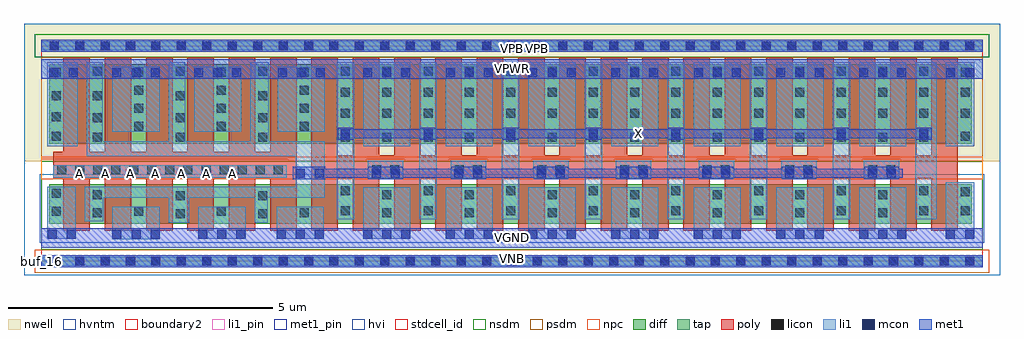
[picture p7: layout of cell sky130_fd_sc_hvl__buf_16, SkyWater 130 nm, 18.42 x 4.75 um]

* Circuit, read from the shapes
.subckt sky130_fd_sc_hvl__buf_16 A VGND VNB VPB VPWR X
XM1 n1 A VGND VNB sky130_fd_pr__nfet_g5v0d10v5 w=0.75 l=0.5 m=6
XM2 X n1 VGND VNB sky130_fd_pr__nfet_g5v0d10v5 w=0.75 l=0.5 m=16
XM3 n1 A VPWR VPB sky130_fd_pr__pfet_g5v0d10v5 w=1.5 l=0.5 m=6
XM4 X n1 VPWR VPB sky130_fd_pr__pfet_g5v0d10v5 w=1.5 l=0.5 m=16
.ends

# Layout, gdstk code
import gdstk
lib = gdstk.Library(unit=1e-6, precision=1e-09)
def R(c, l, rs):  # rectangles x0, y0, x1, y1
    for r in rs: c.add(gdstk.rectangle(r[:2], r[2:], *l))
def A(c, l, x, y, w, h, nx, ny, dx, dy):  # array of equal rectangles
    R(c, l, [(x+i*dx, y+j*dy, x+i*dx+w, y+j*dy+h) for i in range(nx) for j in range(ny)])
def P(c, l, *ps):  # polygons
    for p in ps: c.add(gdstk.Polygon(p, *l))
nwell = (64, 20)
diff = (65, 20)
tap = (65, 44)
poly = (66, 20)
licon = (66, 44)
li1_pin = (67, 16)
li1 = (67, 20)
mcon = (67, 44)
met1_pin = (68, 16)
met1 = (68, 20)
hvi = (75, 20)
stdcell_id = (81, 4)
nsdm = (93, 44)
psdm = (94, 20)
npc = (95, 20)
hvntm = (125, 20)
boundary2 = (236, 0)

sky130_fd_sc_hvl__buf_16 = lib.new_cell('sky130_fd_sc_hvl__buf_16')
R(sky130_fd_sc_hvl__buf_16, nwell, [(-0.33,1.885,18.09,4.485)])
R(sky130_fd_sc_hvl__buf_16, diff, [(0.15,0.705,17.56,1.455), (0.15,2.215,17.56,3.715)])
R(sky130_fd_sc_hvl__buf_16, tap, [(0,-0.085,17.76,0.085), (0,3.985,17.76,4.155)])
P(sky130_fd_sc_hvl__buf_16, poly, [(0.415,0.575),(0.415,1.565),(0.22,1.565),(0.22,2.065),(0.415,2.065),(0.415,3.845),(0.915,3.845),(0.915,2.065),(1.195,2.065),(1.195,3.845),(1.695,3.845),(1.695,2.065),(1.975,2.065),(1.975,3.845),(2.475,3.845),(2.475,2.065),(2.755,2.065),(2.755,3.845),(3.255,3.845),(3.255,2.065),(3.535,2.065),(3.535,3.845),(4.035,3.845),(4.035,2.065),(4.315,2.065),(4.315,3.845),(4.815,3.845),(4.815,0.575),(4.315,0.575),(4.315,1.565),(4.035,1.565),(4.035,0.575),(3.535,0.575),(3.535,1.565),(3.255,1.565),(3.255,0.575),(2.755,0.575),(2.755,1.565),(2.475,1.565),(2.475,0.575),(1.975,0.575),(1.975,1.565),(1.695,1.565),(1.695,0.575),(1.195,0.575),(1.195,1.565),(0.915,1.565),(0.915,0.575)],
  [(5.095,0.575),(5.095,3.845),(5.595,3.845),(5.595,2.005),(5.875,2.005),(5.875,3.845),(6.375,3.845),(6.375,2.005),(6.655,2.005),(6.655,3.845),(7.155,3.845),(7.155,2.005),(7.435,2.005),(7.435,3.845),(7.935,3.845),(7.935,2.005),(8.215,2.005),(8.215,3.845),(8.715,3.845),(8.715,2.005),(8.995,2.005),(8.995,3.845),(9.495,3.845),(9.495,2.005),(9.775,2.005),(9.775,3.845),(10.275,3.845),(10.275,2.005),(10.555,2.005),(10.555,3.845),(11.055,3.845),(11.055,2.005),(11.335,2.005),(11.335,3.845),(11.835,3.845),(11.835,2.005),(12.115,2.005),(12.115,3.845),(12.615,3.845),(12.615,2.005),(12.895,2.005),(12.895,3.845),(13.395,3.845),(13.395,2.005),(13.675,2.005),(13.675,3.845),(14.175,3.845),(14.175,2.005),(14.455,2.005),(14.455,3.845),(14.955,3.845),(14.955,2.005),(15.235,2.005),(15.235,3.845),(15.735,3.845),(15.735,2.005),(16.015,2.005),(16.015,3.845),(16.515,3.845),(16.515,2.005),(16.795,2.005),(16.795,3.845),(17.295,3.845),(17.295,0.575),(16.795,0.575),(16.795,1.565),(16.515,1.565),(16.515,0.575),(16.015,0.575),(16.015,1.565),(15.735,1.565),(15.735,0.575),(15.235,0.575),(15.235,1.565),(14.955,1.565),(14.955,0.575),(14.455,0.575),(14.455,1.565),(14.175,1.565),(14.175,0.575),(13.675,0.575),(13.675,1.565),(13.395,1.565),(13.395,0.575),(12.895,0.575),(12.895,1.565),(12.615,1.565),(12.615,0.575),(12.115,0.575),(12.115,1.565),(11.835,1.565),(11.835,0.575),(11.335,0.575),(11.335,1.565),(11.055,1.565),(11.055,0.575),(10.555,0.575),(10.555,1.565),(10.275,1.565),(10.275,0.575),(9.775,0.575),(9.775,1.565),(9.495,1.565),(9.495,0.575),(8.995,0.575),(8.995,1.565),(8.715,1.565),(8.715,0.575),(8.215,0.575),(8.215,1.565),(7.935,1.565),(7.935,0.575),(7.435,0.575),(7.435,1.565),(7.155,1.565),(7.155,0.575),(6.655,0.575),(6.655,1.565),(6.375,1.565),(6.375,0.575),(5.875,0.575),(5.875,1.565),(5.595,1.565),(5.595,0.575)])
A(sky130_fd_sc_hvl__buf_16, licon, 0.155, -0.085, 0.17, 0.17, 37, 2, 0.48, 4.07)
A(sky130_fd_sc_hvl__buf_16, licon, 4.87, 0.835, 0.17, 0.17, 8, 1, 1.56, 0)
A(sky130_fd_sc_hvl__buf_16, licon, 0.19, 0.855, 0.17, 0.17, 3, 1, 1.56, 0)
A(sky130_fd_sc_hvl__buf_16, licon, 5.65, 0.87, 0.17, 0.17, 8, 2, 1.56, 0.375)
A(sky130_fd_sc_hvl__buf_16, licon, 6.43, 1.175, 0.17, 0.17, 7, 1, 1.56, 0)
A(sky130_fd_sc_hvl__buf_16, licon, 0.3, 1.645, 0.17, 0.17, 13, 1, 0.34, 0)
A(sky130_fd_sc_hvl__buf_16, licon, 0.97, 2.255, 0.17, 0.17, 4, 2, 1.56, 1.25)
A(sky130_fd_sc_hvl__buf_16, licon, 6.43, 2.255, 0.17, 0.17, 14, 2, 0.78, 1.25)
A(sky130_fd_sc_hvl__buf_16, licon, 1.75, 2.465, 0.17, 0.17, 3, 3, 1.56, 0.34)
A(sky130_fd_sc_hvl__buf_16, licon, 0.97, 2.62, 0.17, 0.17, 3, 2, 1.56, 0.42)
A(sky130_fd_sc_hvl__buf_16, licon, 5.65, 2.71, 0.17, 0.17, 16, 2, 0.78, 0.4)
A(sky130_fd_sc_hvl__buf_16, licon, 0.19, 3.485, 0.17, 0.17, 4, 1, 1.56, 0)
R(sky130_fd_sc_hvl__buf_16, licon, [(2.53,0.81,2.7,0.98), (4.09,0.81,4.26,0.98), (0.97,0.835,1.14,1.005), (17.35,0.87,17.52,1.04), (2.53,1.15,2.7,1.32), (4.09,1.15,4.26,1.32), (0.97,1.175,1.14,1.345), (0.19,1.195,0.36,1.365), (17.35,1.225,17.52,1.395), (6.24,1.645,6.41,1.815), (6.58,1.645,6.75,1.815), (7.8,1.645,7.97,1.815), (8.14,1.645,8.31,1.815), (9.36,1.645,9.53,1.815), (9.7,1.645,9.87,1.815), (10.92,1.645,11.09,1.815), (11.26,1.645,11.43,1.815), (12.48,1.645,12.65,1.815), (12.82,1.645,12.99,1.815), (14.04,1.645,14.21,1.815), (14.38,1.645,14.55,1.815), (15.6,1.645,15.77,1.815), (15.94,1.645,16.11,1.815), (0.19,2.275,0.36,2.445), (17.35,2.275,17.52,2.445), (0.19,2.64,0.36,2.81), (0.19,3.04,0.36,3.21), (17.35,3.485,17.52,3.655)])
A(sky130_fd_sc_hvl__buf_16, li1_pin, 0.635, 1.58, 0.17, 0.17, 7, 1, 0.48, 0)
A(sky130_fd_sc_hvl__buf_16, li1, 6.07, 0.425, 0.89, 0.97, 7, 1, 1.56, 0)
A(sky130_fd_sc_hvl__buf_16, li1, 5.57, 0.79, 0.33, 2.965, 7, 1, 1.56, 0)
A(sky130_fd_sc_hvl__buf_16, li1, 6.16, 1.565, 0.67, 0.33, 7, 1, 1.56, 0)
A(sky130_fd_sc_hvl__buf_16, li1, 6.07, 2.175, 0.89, 1.58, 7, 1, 1.56, 0)
R(sky130_fd_sc_hvl__buf_16, li1, [(0,-0.085,17.76,0.085), (1.34,0.415,2.23,1.025), (0.11,0.425,0.645,1.41), (2.96,0.425,3.855,1.025), (4.44,0.425,5.33,1.025), (17.07,0.425,17.6,1.495), (16.49,0.79,16.9,3.755), (0.22,1.58,4.63,1.815), (0.11,2.175,0.68,3.755), (17.07,2.175,17.6,3.755), (1.34,2.445,2.23,3.675), (2.88,2.445,3.77,3.675), (4.46,2.445,5.35,3.675), (0,3.985,17.76,4.155)])
P(sky130_fd_sc_hvl__buf_16, li1, [(2.4,0.73),(2.4,1.195),(1.17,1.195),(1.17,0.755),(0.815,0.755),(0.815,1.41),(4.8,1.41),(4.8,1.985),(0.85,1.985),(0.85,3.755),(1.16,3.755),(1.16,2.265),(2.4,2.265),(2.4,3.755),(2.71,3.755),(2.71,2.265),(3.94,2.265),(3.94,3.755),(4.29,3.755),(4.29,2.265),(5.35,2.265),(5.35,1.195),(4.27,1.195),(4.27,0.73),(4.025,0.73),(4.025,1.195),(2.79,1.195),(2.79,0.73)])
A(sky130_fd_sc_hvl__buf_16, mcon, 1.34, 0.425, 0.17, 0.17, 3, 2, 0.36, 3.05)
A(sky130_fd_sc_hvl__buf_16, mcon, 2.96, 0.425, 0.17, 0.17, 3, 1, 0.36, 0)
A(sky130_fd_sc_hvl__buf_16, mcon, 4.44, 0.425, 0.17, 0.17, 3, 1, 0.36, 0)
A(sky130_fd_sc_hvl__buf_16, mcon, 6.07, 0.425, 0.17, 0.17, 3, 2, 0.36, 3.05)
A(sky130_fd_sc_hvl__buf_16, mcon, 7.63, 0.425, 0.17, 0.17, 3, 2, 0.36, 3.05)
A(sky130_fd_sc_hvl__buf_16, mcon, 9.19, 0.425, 0.17, 0.17, 3, 2, 0.36, 3.05)
A(sky130_fd_sc_hvl__buf_16, mcon, 10.75, 0.425, 0.17, 0.17, 3, 2, 0.36, 3.05)
A(sky130_fd_sc_hvl__buf_16, mcon, 12.31, 0.425, 0.17, 0.17, 3, 2, 0.36, 3.05)
A(sky130_fd_sc_hvl__buf_16, mcon, 13.87, 0.425, 0.17, 0.17, 3, 2, 0.36, 3.05)
A(sky130_fd_sc_hvl__buf_16, mcon, 15.43, 0.425, 0.17, 0.17, 3, 2, 0.36, 3.05)
A(sky130_fd_sc_hvl__buf_16, mcon, 5.65, 2.32, 0.17, 0.17, 8, 1, 1.56, 0)
A(sky130_fd_sc_hvl__buf_16, mcon, 2.88, 3.475, 0.17, 0.17, 3, 1, 0.36, 0)
A(sky130_fd_sc_hvl__buf_16, mcon, 4.46, 3.475, 0.17, 0.17, 3, 1, 0.36, 0)
R(sky130_fd_sc_hvl__buf_16, mcon, [(0.155,-0.085,0.325,0.085), (0.155,-0.085,0.325,0.085), (0.635,-0.085,0.805,0.085), (0.635,-0.085,0.805,0.085), (1.115,-0.085,1.285,0.085), (1.115,-0.085,1.285,0.085), (1.595,-0.085,1.765,0.085), (1.595,-0.085,1.765,0.085), (2.075,-0.085,2.245,0.085), (2.075,-0.085,2.245,0.085), (2.555,-0.085,2.725,0.085), (2.555,-0.085,2.725,0.085), (3.035,-0.085,3.205,0.085), (3.035,-0.085,3.205,0.085), (3.515,-0.085,3.685,0.085), (3.515,-0.085,3.685,0.085), (3.995,-0.085,4.165,0.085), (3.995,-0.085,4.165,0.085), (4.475,-0.085,4.645,0.085), (4.475,-0.085,4.645,0.085), (4.955,-0.085,5.125,0.085), (4.955,-0.085,5.125,0.085), (5.435,-0.085,5.605,0.085), (5.435,-0.085,5.605,0.085), (5.915,-0.085,6.085,0.085), (5.915,-0.085,6.085,0.085), (6.395,-0.085,6.565,0.085), (6.395,-0.085,6.565,0.085), (6.875,-0.085,7.045,0.085), (6.875,-0.085,7.045,0.085), (7.355,-0.085,7.525,0.085), (7.355,-0.085,7.525,0.085), (7.835,-0.085,8.005,0.085), (7.835,-0.085,8.005,0.085), (8.315,-0.085,8.485,0.085), (8.315,-0.085,8.485,0.085), (8.795,-0.085,8.965,0.085), (8.795,-0.085,8.965,0.085), (9.275,-0.085,9.445,0.085), (9.275,-0.085,9.445,0.085), (9.755,-0.085,9.925,0.085), (9.755,-0.085,9.925,0.085), (10.235,-0.085,10.405,0.085), (10.235,-0.085,10.405,0.085), (10.715,-0.085,10.885,0.085), (10.715,-0.085,10.885,0.085), (11.195,-0.085,11.365,0.085), (11.195,-0.085,11.365,0.085), (11.675,-0.085,11.845,0.085), (11.675,-0.085,11.845,0.085), (12.155,-0.085,12.325,0.085), (12.155,-0.085,12.325,0.085), (12.635,-0.085,12.805,0.085), (12.635,-0.085,12.805,0.085), (13.115,-0.085,13.285,0.085), (13.115,-0.085,13.285,0.085), (13.595,-0.085,13.765,0.085), (13.595,-0.085,13.765,0.085), (14.075,-0.085,14.245,0.085), (14.075,-0.085,14.245,0.085), (14.555,-0.085,14.725,0.085), (14.555,-0.085,14.725,0.085), (15.035,-0.085,15.205,0.085), (15.035,-0.085,15.205,0.085), (15.515,-0.085,15.685,0.085), (15.515,-0.085,15.685,0.085), (15.995,-0.085,16.165,0.085), (15.995,-0.085,16.165,0.085), (16.475,-0.085,16.645,0.085), (16.475,-0.085,16.645,0.085), (16.955,-0.085,17.125,0.085), (16.955,-0.085,17.125,0.085), (17.435,-0.085,17.605,0.085), (17.435,-0.085,17.605,0.085), (0.115,0.425,0.285,0.595), (0.475,0.425,0.645,0.595), (17.07,0.425,17.24,0.595), (17.43,0.425,17.6,0.595), (4.8,1.58,4.97,1.75), (5.16,1.58,5.33,1.75), (6.23,1.58,6.4,1.75), (6.59,1.58,6.76,1.75), (7.79,1.58,7.96,1.75), (8.15,1.58,8.32,1.75), (9.35,1.58,9.52,1.75), (9.71,1.58,9.88,1.75), (10.91,1.58,11.08,1.75), (11.27,1.58,11.44,1.75), (12.47,1.58,12.64,1.75), (12.83,1.58,13,1.75), (14.03,1.58,14.2,1.75), (14.39,1.58,14.56,1.75), (15.59,1.58,15.76,1.75), (15.95,1.58,16.12,1.75), (0.15,3.475,0.32,3.645), (0.51,3.475,0.68,3.645), (17.07,3.475,17.24,3.645), (17.43,3.475,17.6,3.645), (0.155,3.985,0.325,4.155), (0.155,3.985,0.325,4.155), (0.635,3.985,0.805,4.155), (0.635,3.985,0.805,4.155), (1.115,3.985,1.285,4.155), (1.115,3.985,1.285,4.155), (1.595,3.985,1.765,4.155), (1.595,3.985,1.765,4.155), (2.075,3.985,2.245,4.155), (2.075,3.985,2.245,4.155), (2.555,3.985,2.725,4.155), (2.555,3.985,2.725,4.155), (3.035,3.985,3.205,4.155), (3.035,3.985,3.205,4.155), (3.515,3.985,3.685,4.155), (3.515,3.985,3.685,4.155), (3.995,3.985,4.165,4.155), (3.995,3.985,4.165,4.155), (4.475,3.985,4.645,4.155), (4.475,3.985,4.645,4.155), (4.955,3.985,5.125,4.155), (4.955,3.985,5.125,4.155), (5.435,3.985,5.605,4.155), (5.435,3.985,5.605,4.155), (5.915,3.985,6.085,4.155), (5.915,3.985,6.085,4.155), (6.395,3.985,6.565,4.155), (6.395,3.985,6.565,4.155), (6.875,3.985,7.045,4.155), (6.875,3.985,7.045,4.155), (7.355,3.985,7.525,4.155), (7.355,3.985,7.525,4.155), (7.835,3.985,8.005,4.155), (7.835,3.985,8.005,4.155), (8.315,3.985,8.485,4.155), (8.315,3.985,8.485,4.155), (8.795,3.985,8.965,4.155), (8.795,3.985,8.965,4.155), (9.275,3.985,9.445,4.155), (9.275,3.985,9.445,4.155), (9.755,3.985,9.925,4.155), (9.755,3.985,9.925,4.155), (10.235,3.985,10.405,4.155), (10.235,3.985,10.405,4.155), (10.715,3.985,10.885,4.155), (10.715,3.985,10.885,4.155), (11.195,3.985,11.365,4.155), (11.195,3.985,11.365,4.155), (11.675,3.985,11.845,4.155), (11.675,3.985,11.845,4.155), (12.155,3.985,12.325,4.155), (12.155,3.985,12.325,4.155), (12.635,3.985,12.805,4.155), (12.635,3.985,12.805,4.155), (13.115,3.985,13.285,4.155), (13.115,3.985,13.285,4.155), (13.595,3.985,13.765,4.155), (13.595,3.985,13.765,4.155), (14.075,3.985,14.245,4.155), (14.075,3.985,14.245,4.155), (14.555,3.985,14.725,4.155), (14.555,3.985,14.725,4.155), (15.035,3.985,15.205,4.155), (15.035,3.985,15.205,4.155), (15.515,3.985,15.685,4.155), (15.515,3.985,15.685,4.155), (15.995,3.985,16.165,4.155), (15.995,3.985,16.165,4.155), (16.475,3.985,16.645,4.155), (16.475,3.985,16.645,4.155), (16.955,3.985,17.125,4.155), (16.955,3.985,17.125,4.155), (17.435,3.985,17.605,4.155), (17.435,3.985,17.605,4.155)])
R(sky130_fd_sc_hvl__buf_16, met1_pin, [(0,0,17.76,0.115), (0,0,17.76,0.115), (0,0.255,17.76,0.625), (5.59,2.32,16.8,2.49), (0,3.445,17.76,3.815), (0,3.955,17.76,4.07), (0,3.955,17.76,4.07)])
A(sky130_fd_sc_hvl__buf_16, met1, 5.59, 2.29, 0.29, 0.23, 8, 1, 1.56, 0)
R(sky130_fd_sc_hvl__buf_16, met1, [(0,-0.115,17.76,0.115), (0,0.255,17.76,0.625), (5.59,2.32,16.8,2.49), (0,3.445,17.76,3.815), (0,3.955,17.76,4.185)])
P(sky130_fd_sc_hvl__buf_16, met1, [(4.74,1.55),(4.74,1.78),(5.36,1.78),(5.36,1.75),(6.17,1.75),(6.17,1.78),(6.82,1.78),(6.82,1.75),(7.73,1.75),(7.73,1.78),(8.38,1.78),(8.38,1.75),(9.29,1.75),(9.29,1.78),(9.94,1.78),(9.94,1.75),(10.85,1.75),(10.85,1.78),(11.5,1.78),(11.5,1.75),(12.41,1.75),(12.41,1.78),(13.06,1.78),(13.06,1.75),(13.97,1.75),(13.97,1.78),(14.62,1.78),(14.62,1.75),(15.53,1.75),(15.53,1.78),(16.18,1.78),(16.18,1.75),(16.25,1.75),(16.25,1.58),(16.18,1.58),(16.18,1.55),(15.53,1.55),(15.53,1.58),(14.62,1.58),(14.62,1.55),(13.97,1.55),(13.97,1.58),(13.06,1.58),(13.06,1.55),(12.41,1.55),(12.41,1.58),(11.5,1.58),(11.5,1.55),(10.85,1.55),(10.85,1.58),(9.94,1.58),(9.94,1.55),(9.29,1.55),(9.29,1.58),(8.38,1.58),(8.38,1.55),(7.73,1.55),(7.73,1.58),(6.82,1.58),(6.82,1.55),(6.17,1.55),(6.17,1.58),(5.36,1.58),(5.36,1.55)])
R(sky130_fd_sc_hvl__buf_16, hvi, [(-0.33,-0.265,18.09,4.485)])
R(sky130_fd_sc_hvl__buf_16, stdcell_id, [(0,0,17.76,4.07)])
R(sky130_fd_sc_hvl__buf_16, nsdm, [(0,0.215,17.76,1.885), (-0.13,3.855,17.89,4.285), (0,3.855,17.76,4.07)])
R(sky130_fd_sc_hvl__buf_16, psdm, [(-0.13,-0.215,17.89,0.215)])
P(sky130_fd_sc_hvl__buf_16, psdm, [(4.66,1.885),(4.66,1.925),(0,1.925),(0,3.855),(17.76,3.855),(17.76,1.885),(16.22,1.885),(16.22,1.925),(15.49,1.925),(15.49,1.885),(14.66,1.885),(14.66,1.925),(13.93,1.925),(13.93,1.885),(13.1,1.885),(13.1,1.925),(12.37,1.925),(12.37,1.885),(11.54,1.885),(11.54,1.925),(10.81,1.925),(10.81,1.885),(9.98,1.885),(9.98,1.925),(9.25,1.925),(9.25,1.885),(8.42,1.885),(8.42,1.925),(7.69,1.925),(7.69,1.885),(6.86,1.885),(6.86,1.925),(6.13,1.925),(6.13,1.885)])
R(sky130_fd_sc_hvl__buf_16, npc, [(0,1.545,17.76,1.97)])
R(sky130_fd_sc_hvl__buf_16, hvntm, [(-0.035,0.35,17.795,1.64)])
R(sky130_fd_sc_hvl__buf_16, boundary2, [(0,0,17.76,4.07)])
sky130_fd_sc_hvl__buf_16.add(gdstk.Label('A', (0.72,1.665), layer=67, texttype=5))
sky130_fd_sc_hvl__buf_16.add(gdstk.Label('A', (1.2,1.665), layer=67, texttype=5))
sky130_fd_sc_hvl__buf_16.add(gdstk.Label('A', (1.68,1.665), layer=67, texttype=5))
sky130_fd_sc_hvl__buf_16.add(gdstk.Label('A', (2.16,1.665), layer=67, texttype=5))
sky130_fd_sc_hvl__buf_16.add(gdstk.Label('A', (2.64,1.665), layer=67, texttype=5))
sky130_fd_sc_hvl__buf_16.add(gdstk.Label('A', (3.12,1.665), layer=67, texttype=5))
sky130_fd_sc_hvl__buf_16.add(gdstk.Label('A', (3.6,1.665), layer=67, texttype=5))
sky130_fd_sc_hvl__buf_16.add(gdstk.Label('buf_16', (0,0), layer=83, texttype=44))
sky130_fd_sc_hvl__buf_16.add(gdstk.Label('VGND', (8.88,0.44), layer=68, texttype=5))
sky130_fd_sc_hvl__buf_16.add(gdstk.Label('VNB', (8.88,0.058), layer=68, texttype=5))
sky130_fd_sc_hvl__buf_16.add(gdstk.Label('X', (11.27,2.405), layer=68, texttype=5))
sky130_fd_sc_hvl__buf_16.add(gdstk.Label('VNB', (9.36,0.058), layer=68, texttype=5))
sky130_fd_sc_hvl__buf_16.add(gdstk.Label('VPWR', (8.88,3.63), layer=68, texttype=5))
sky130_fd_sc_hvl__buf_16.add(gdstk.Label('VPB', (8.88,4.013), layer=68, texttype=5))
sky130_fd_sc_hvl__buf_16.add(gdstk.Label('VPB', (9.36,4.013), layer=68, texttype=5))

lib.write_gds('sky130_fd_sc_hvl__buf_16.gds')
